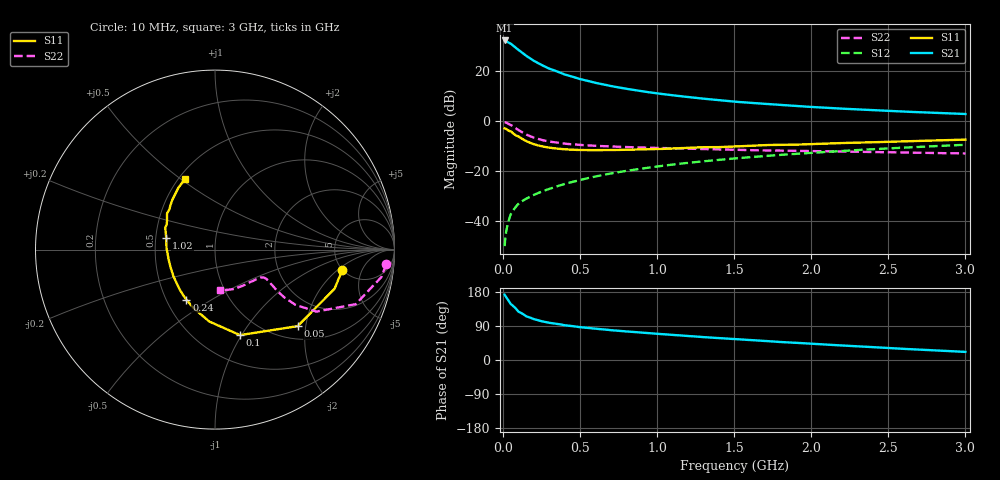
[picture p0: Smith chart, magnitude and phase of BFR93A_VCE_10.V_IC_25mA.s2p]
! Infineon Technologies  Discrete & RF Semiconductors
! BFR93A
! VCE =  10. V,  IC =  25 mA
! Common Emitter S-Parameters:  Nov 2015
# GHz  S  MA  R  50
!  f  S11  S21  S12  S22
! GHz  MAG  ANG  MAG  ANG  MAG  ANG  MAG  ANG
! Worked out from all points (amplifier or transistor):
!   180 points, 10 MHz to 3 GHz, reference 50 ohm
!   highest |S21| = 32.2 dB at 10 MHz (marker M1)
!   |S21| within 3 dB of that: start of sweep to 83.73 MHz
!   unconditionally stable (mu >= 1): 422.6 MHz to 2.744 GHz
!   at 160 MHz: K = 0.70, MSG = 28.2 dB, |S12| = -30.6 dB
!   at 1.22 GHz: K = 1.08, MAG = 11.3 dB, |S12| = -16.5 dB
!   at 3 GHz: K = 0.98, MSG = 6.1 dB, |S12| = -9.4 dB
!   S11 on the Smith chart (normalised r, x): 10 MHz: 4.97, -2.33; 50 MHz: 1.28, -1.80; 100 MHz: 0.78, -0.98; 240 MHz: 0.63, -0.39; 1.02 GHz: 0.57, +0.08; 3 GHz: 0.54, +0.52
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0.01  0.7184 -9.1  40.87 172.2  0.0032 84.2  0.9572 -4.9
0.02  0.7009 -18.1  39.92 165.5  0.0062 79.5  0.9393 -9.4
0.05  0.6276 -42.8  35.3 147.6  0.0139 72.2  0.8409 -21.2
0.1  0.4964 -73.7  26.5 127.5  0.0225 64.3  0.6616 -31.5
0.15  0.4021 -94.5  20.12 115.3  0.0284 62.4  0.5406 -34.5
0.2  0.3476 -110.1  15.99 107.8  0.0339 63.4  0.4677 -34.6
0.24  0.3209 -119.8  13.73 103.4  0.0381 64.2  0.4307 -33.9
0.26  0.3113 -124.2  12.78 101.4  0.0403 64.7  0.4154 -33.5
0.3  0.2966 -131.7  11.19 98.1  0.0445 65.8  0.3916 -32.6
0.4  0.2753 -147.2  8.551 91.7  0.0558 67.7  0.3551 -30.8
0.5  0.2662 -159.4  6.923 86.6  0.0671 68.5  0.3355 -29.9
0.52  0.2653 -161.1  6.702 85.9  0.0694 68.6  0.3328 -29.8
0.6  0.2643 -168.0  5.829 82.5  0.0788 68.9  0.3218 -29.6
0.7  0.2646 -174.8  5.027 78.7  0.0905 68.8  0.3126 -29.9
0.8  0.2699 178.9  4.431 75.3  0.1019 68.5  0.3047 -30.5
0.9  0.2736 172.9  3.953 72.3  0.1131 67.9  0.2974 -31.6
1.02  0.2786 167.0  3.522 68.6  0.127 67.0  0.292 -33.1
1.3  0.3026 156.1  2.813 60.4  0.1582 64.7  0.2784 -37.8
1.52  0.3139 148.3  2.43 54.7  0.1825 62.6  0.268 -42.1
2.02  0.3508 135.0  1.91 42.5  0.2356 57.7  0.2525 -53.7
2.52  0.3897 123.4  1.595 31.3  0.2882 52.3  0.2401 -67.1
3  0.4286 112.6  1.391 21.4  0.3383 47.0  0.2275 -83.5
